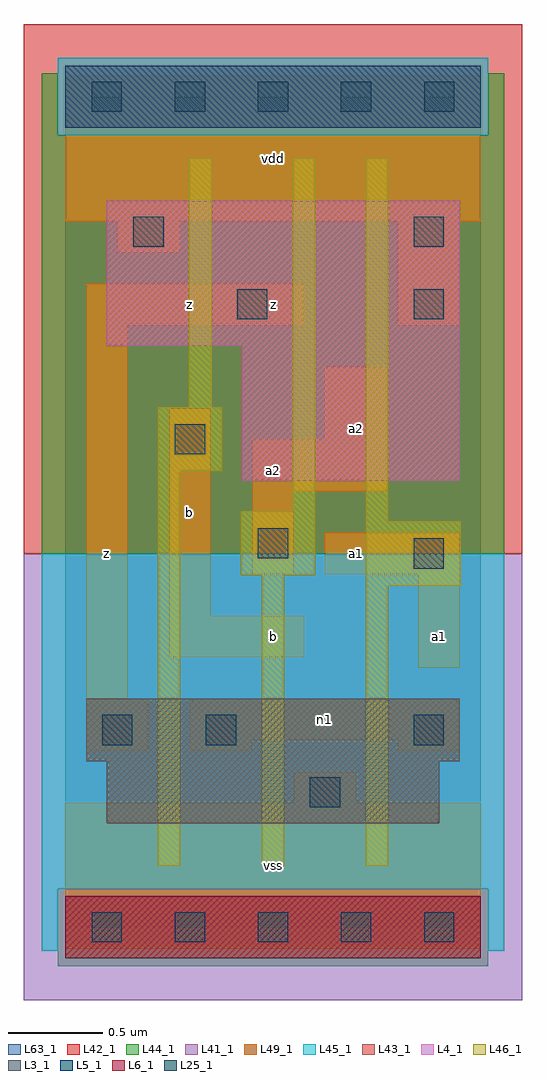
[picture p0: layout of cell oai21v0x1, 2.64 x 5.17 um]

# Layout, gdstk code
import gdstk
lib = gdstk.Library(unit=1e-6, precision=1e-09)
def R(c, l, rs):  # rectangles x0, y0, x1, y1
    for r in rs: c.add(gdstk.rectangle(r[:2], r[2:], *l))
def A(c, l, x, y, w, h, nx, ny, dx, dy):  # array of equal rectangles
    R(c, l, [(x+i*dx, y+j*dy, x+i*dx+w, y+j*dy+h) for i in range(nx) for j in range(ny)])
L3_1 = (3, 1)
L4_1 = (4, 1)
L5_1 = (5, 1)
L6_1 = (6, 1)
L25_1 = (25, 1)
L41_1 = (41, 1)
L42_1 = (42, 1)
L43_1 = (43, 1)
L44_1 = (44, 1)
L45_1 = (45, 1)
L46_1 = (46, 1)
L49_1 = (49, 1)
L63_1 = (63, 1)

oai21v0x1 = lib.new_cell('oai21v0x1')
R(oai21v0x1, L3_1, [(0.22,0.55,1.98,0.88), (0.11,0.88,2.09,1.21)])
R(oai21v0x1, L4_1, [(0.935,2.365,2.09,3.08), (0.22,3.08,2.09,3.85)])
R(oai21v0x1, L5_1, [(0,4.235,2.2,4.565)])
R(oai21v0x1, L6_1, [(0,-0.165,2.2,0.165)])
A(oai21v0x1, L25_1, 0.14, -0.08, 0.16, 0.16, 5, 2, 0.44, 4.4)
R(oai21v0x1, L25_1, [(1.295,0.635,1.455,0.795), (0.195,0.965,0.355,1.125), (0.745,0.965,0.905,1.125), (1.845,0.965,2.005,1.125), (1.845,1.9,2.005,2.06), (1.02,1.955,1.18,2.115), (0.58,2.505,0.74,2.665), (0.91,3.22,1.07,3.38), (1.845,3.22,2.005,3.38), (0.36,3.605,0.52,3.765), (1.845,3.605,2.005,3.765)])
R(oai21v0x1, L41_1, [(-0.22,-0.385,2.42,1.98)])
R(oai21v0x1, L42_1, [(-0.22,1.98,2.42,4.785)])
R(oai21v0x1, L43_1, [(0,-0.165,2.2,0.165), (0.22,0.55,1.98,0.88), (0.11,0.88,2.09,1.21), (0.935,2.365,2.09,3.08), (0.22,3.08,2.09,3.85), (0,4.235,2.2,4.565)])
R(oai21v0x1, L44_1, [(-0.04,-0.205,2.24,0.205), (-0.125,1.98,2.325,4.195), (-0.125,4.195,-0.04,4.525), (2.24,4.195,2.325,4.525)])
R(oai21v0x1, L45_1, [(-0.125,-0.125,-0.04,0.205), (2.24,-0.125,2.325,0.205), (-0.125,0.205,2.325,1.98), (-0.04,4.195,2.24,4.605)])
R(oai21v0x1, L46_1, [(0.49,0.325,0.61,2.415), (1.04,0.325,1.16,1.865), (1.59,0.325,1.71,1.81), (1.59,1.81,2.095,2.15), (0.93,1.865,1.325,2.205), (1.59,2.15,1.71,4.075), (1.205,2.205,1.325,4.075), (0.49,2.415,0.83,2.755), (0.655,2.755,0.775,4.075)])
R(oai21v0x1, L49_1, [(0,-0.11,2.2,0.66), (1.21,0.66,1.54,0.825), (0.11,0.935,0.44,1.21), (0.66,0.935,0.99,0.99), (1.76,0.935,2.09,0.99), (0.66,0.99,2.09,1.21), (0.11,1.21,0.33,3.19), (1.87,1.375,2.09,1.87), (0.55,1.43,1.265,1.65), (0.55,1.65,0.77,2.75), (0.99,1.87,1.21,2.31), (1.375,1.87,2.09,2.09), (0.99,2.31,1.705,2.585), (1.375,2.585,1.705,2.97), (0.11,3.19,1.265,3.41), (1.76,3.19,2.09,3.74), (0.275,3.575,0.605,3.74), (0,3.74,2.2,4.51)])
R(oai21v0x1, L63_1, [(0,0,2.2,4.4)])
oai21v0x1.add(gdstk.Label('z', (0.22,1.98), layer=49, texttype=1))
oai21v0x1.add(gdstk.Label('b', (0.66,2.2), layer=49, texttype=1))
oai21v0x1.add(gdstk.Label('z', (0.66,3.3), layer=49, texttype=1))
oai21v0x1.add(gdstk.Label('vss', (1.1,0.33), layer=49, texttype=1))
oai21v0x1.add(gdstk.Label('b', (1.1,1.54), layer=49, texttype=1))
oai21v0x1.add(gdstk.Label('a1', (1.54,1.98), layer=49, texttype=1))
oai21v0x1.add(gdstk.Label('a2', (1.1,2.42), layer=49, texttype=1))
oai21v0x1.add(gdstk.Label('a2', (1.54,2.64), layer=49, texttype=1))
oai21v0x1.add(gdstk.Label('z', (1.1,3.3), layer=49, texttype=1))
oai21v0x1.add(gdstk.Label('vdd', (1.1,4.07), layer=49, texttype=1))
oai21v0x1.add(gdstk.Label('n1', (1.375,1.1), layer=49, texttype=1))
oai21v0x1.add(gdstk.Label('a1', (1.98,1.54), layer=49, texttype=1))

lib.write_gds('oai21v0x1.gds')
